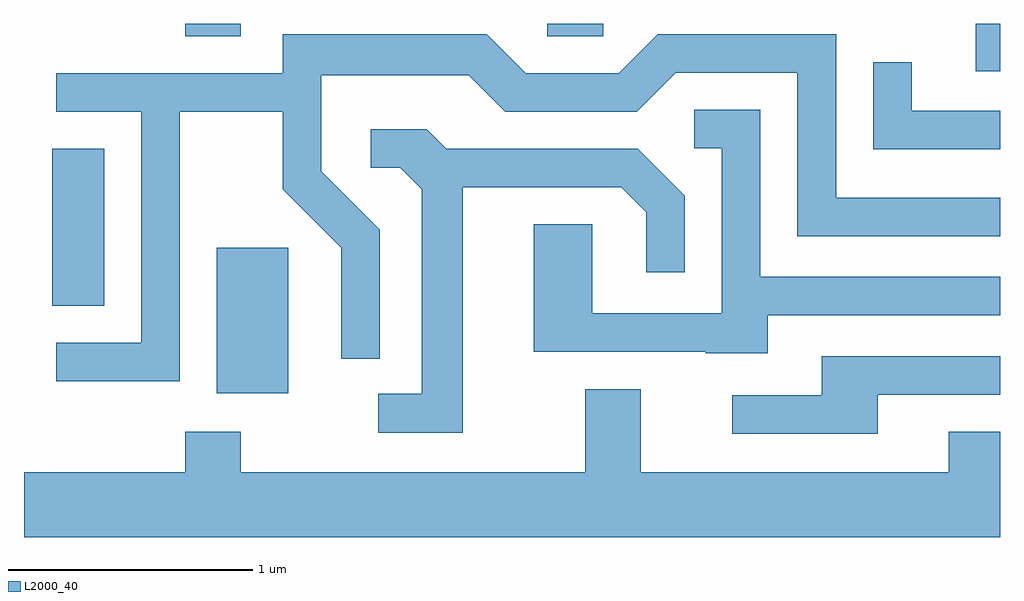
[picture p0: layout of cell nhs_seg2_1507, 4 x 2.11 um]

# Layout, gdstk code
import gdstk
lib = gdstk.Library(unit=1e-6, precision=1e-09)
def R(c, l, rs):  # rectangles x0, y0, x1, y1
    for r in rs: c.add(gdstk.rectangle(r[:2], r[2:], *l))
def P(c, l, *ps):  # polygons
    for p in ps: c.add(gdstk.Polygon(p, *l))
L2000_40 = (2000, 40)

nhs_seg2_1507 = lib.new_cell('nhs_seg2_1507')
R(nhs_seg2_1507, L2000_40, [(230.401,1002.286,230.694,1002.884), (229.726,1002.646,229.939,1003.289), (233.511,1003.606,233.611,1003.802), (230.271,1003.751,230.499,1003.802), (231.756,1003.751,231.984,1003.802)])
P(nhs_seg2_1507, L2000_40, [(230.249,1003.441),(230.671,1003.441),(230.671,1003.124),(230.911,1002.884),(230.911,1002.428),(231.069,1002.428),(231.069,1002.957),(230.829,1003.197),(230.829,1003.591),(231.434,1003.591),(231.584,1003.441),(232.122,1003.441),(232.282,1003.601),(232.781,1003.601),(232.781,1002.931),(233.611,1002.931),(233.611,1003.089),(232.939,1003.089),(232.939,1003.759),(232.209,1003.759),(232.049,1003.599),(231.667,1003.599),(231.507,1003.759),(230.671,1003.759),(230.671,1003.599),(229.743,1003.599),(229.743,1003.441),(230.091,1003.441),(230.091,1002.494),(229.743,1002.494),(229.743,1002.336),(230.249,1002.336)],
  [(233.611,1003.444),(233.249,1003.444),(233.249,1003.643),(233.091,1003.643),(233.091,1003.286),(233.611,1003.286)],
  [(232.659,1002.606),(233.611,1002.606),(233.611,1002.764),(232.629,1002.764),(232.629,1003.449),(232.358,1003.449),(232.358,1003.291),(232.471,1003.291),(232.471,1002.614),(231.939,1002.614),(231.939,1002.979),(231.701,1002.979),(231.701,1002.456),(232.405,1002.456),(232.405,1002.451),(232.659,1002.451)],
  [(231.409,1003.131),(232.059,1003.131),(232.161,1003.029),(232.161,1002.783),(232.319,1002.783),(232.319,1003.097),(232.127,1003.289),(231.342,1003.289),(231.262,1003.369),(231.033,1003.369),(231.033,1003.211),(231.154,1003.211),(231.241,1003.124),(231.241,1002.284),(231.063,1002.284),(231.063,1002.126),(231.409,1002.126)],
  [(233.109,1002.281),(233.611,1002.281),(233.611,1002.439),(232.881,1002.439),(232.881,1002.279),(232.513,1002.279),(232.513,1002.121),(233.109,1002.121)],
  [(233.611,1002.129),(233.401,1002.129),(233.401,1001.964),(232.139,1001.964),(232.139,1002.304),(231.911,1002.304),(231.911,1001.964),(230.499,1001.964),(230.499,1002.129),(230.271,1002.129),(230.271,1001.964),(229.611,1001.964),(229.611,1001.696),(233.611,1001.696)])

lib.write_gds('nhs_seg2_1507.gds')
